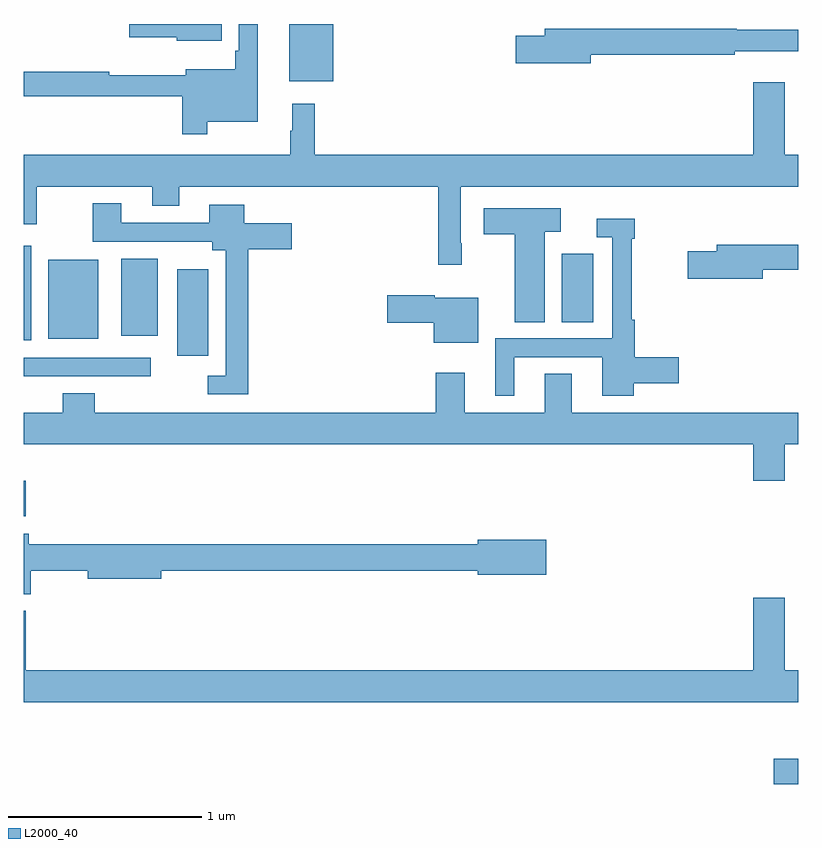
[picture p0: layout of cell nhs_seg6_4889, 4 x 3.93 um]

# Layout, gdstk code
import gdstk
lib = gdstk.Library(unit=1e-6, precision=1e-09)
def R(c, l, rs):  # rectangles x0, y0, x1, y1
    for r in rs: c.add(gdstk.rectangle(r[:2], r[2:], *l))
def P(c, l, *ps):  # polygons
    for p in ps: c.add(gdstk.Polygon(p, *l))
L2000_40 = (2000, 40)

nhs_seg6_4889 = lib.new_cell('nhs_seg6_4889')
R(nhs_seg6_4889, L2000_40, [(404.874,953.573,405,953.703), (401,954.957,401.009,955.141), (401,955.68,401.656,955.776), (401.792,955.785,401.953,956.233), (401,955.865,401.038,956.353), (401.126,955.874,401.383,956.281), (401.504,955.889,401.692,956.287), (403.778,955.96,403.942,956.314), (402.371,957.203,402.598,957.5)])
P(nhs_seg6_4889, L2000_40, [(402.022,957.5),(401.544,957.5),(401.544,957.431),(401.79,957.431),(401.79,957.413),(402.022,957.413)],
  [(401.947,956.996),(402.208,956.996),(402.208,957.5),(402.111,957.5),(402.111,957.361),(402.091,957.361),(402.091,957.265),(401.837,957.265),(401.837,957.236),(401.441,957.236),(401.441,957.254),(401,957.254),(401,957.126),(401.818,957.126),(401.818,956.931),(401.947,956.931)],
  [(403.93,957.34),(404.672,957.34),(404.672,957.359),(405,957.359),(405,957.469),(404.684,957.469),(404.684,957.476),(403.691,957.476),(403.691,957.44),(403.542,957.44),(403.542,957.298),(403.93,957.298)],
  [(403.262,956.368),(403.257,956.368),(403.257,956.66),(405,956.66),(405,956.824),(404.932,956.824),(404.932,957.199),(404.768,957.199),(404.768,956.824),(402.503,956.824),(402.503,957.088),(402.386,957.088),(402.386,956.948),(402.375,956.948),(402.375,956.824),(401,956.824),(401,956.466),(401.067,956.466),(401.067,956.66),(401.663,956.66),(401.663,956.561),(401.803,956.561),(401.803,956.66),(403.141,956.66),(403.141,956.256),(403.262,956.256)],
  [(402.158,956.336),(402.385,956.336),(402.385,956.47),(402.139,956.47),(402.139,956.566),(401.957,956.566),(401.957,956.472),(401.503,956.472),(401.503,956.575),(401.356,956.575),(401.356,956.376),(401.972,956.376),(401.972,956.33),(402.042,956.33),(402.042,955.683),(401.949,955.683),(401.949,955.587),(402.158,955.587)],
  [(403.69,956.426),(403.774,956.426),(403.774,956.548),(403.377,956.548),(403.377,956.414),(403.535,956.414),(403.535,955.96),(403.69,955.96)],
  [(403.534,955.779),(403.988,955.779),(403.988,955.578),(404.15,955.578),(404.15,955.643),(404.383,955.643),(404.383,955.778),(404.156,955.778),(404.156,955.972),(404.141,955.972),(404.141,956.39),(404.156,956.39),(404.156,956.494),(403.959,956.494),(403.959,956.397),(404.04,956.397),(404.04,955.875),(403.436,955.875),(403.436,955.578),(403.534,955.578)],
  [(404.818,956.23),(405,956.23),(405,956.359),(404.579,956.359),(404.579,956.325),(404.43,956.325),(404.43,956.183),(404.818,956.183)],
  [(403.348,956.086),(403.122,956.086),(403.122,956.099),(402.876,956.099),(402.876,955.957),(403.118,955.957),(403.118,955.853),(403.348,955.853)],
  [(404.932,955.328),(405,955.328),(405,955.492),(403.831,955.492),(403.831,955.694),(403.691,955.694),(403.691,955.492),(403.279,955.492),(403.279,955.699),(403.127,955.699),(403.127,955.492),(401.366,955.492),(401.366,955.591),(401.201,955.591),(401.201,955.492),(401,955.492),(401,955.328),(404.768,955.328),(404.768,955.14),(404.932,955.14)],
  [(401.034,954.676),(401.33,954.676),(401.33,954.634),(401.71,954.634),(401.71,954.676),(403.346,954.676),(403.346,954.653),(403.699,954.653),(403.699,954.836),(403.346,954.836),(403.346,954.812),(401.026,954.812),(401.026,954.867),(401,954.867),(401,954.553),(401.034,954.553)],
  [(405,954.16),(404.932,954.16),(404.932,954.535),(404.768,954.535),(404.768,954.16),(401.009,954.16),(401.009,954.468),(401,954.468),(401,953.996),(405,953.996)])

lib.write_gds('nhs_seg6_4889.gds')
